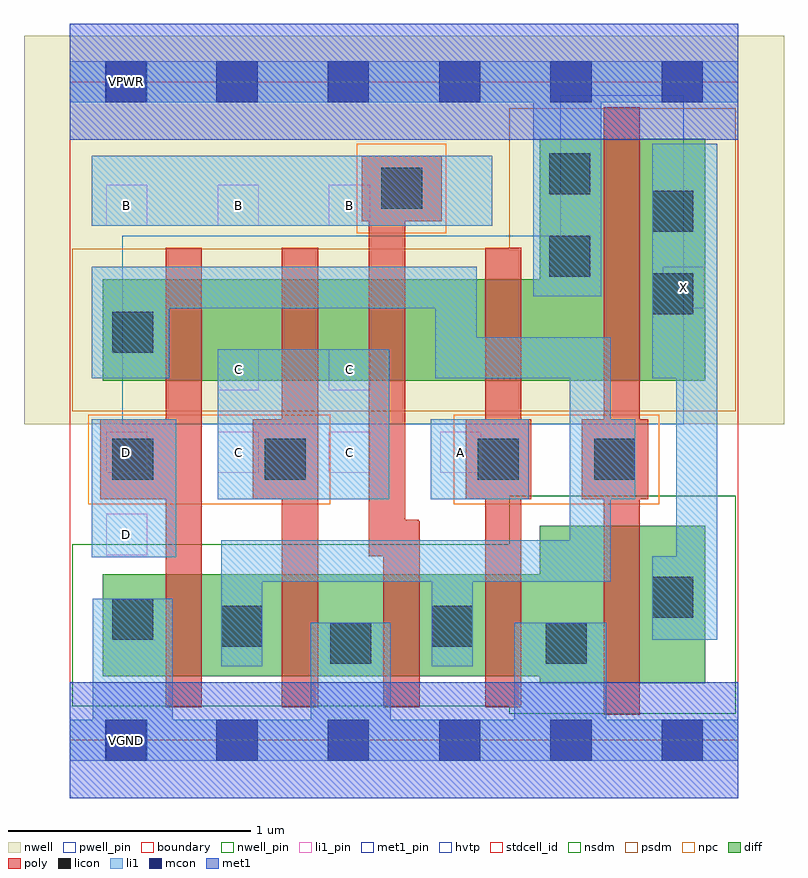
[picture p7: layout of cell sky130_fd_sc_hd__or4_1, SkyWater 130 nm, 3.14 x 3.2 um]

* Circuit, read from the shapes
.subckt sky130_fd_sc_hd__or4_1 A B C D VGND VNB VPB VPWR X
XM1 n1 D VGND VNB sky130_fd_pr__nfet_01v8 w=0.42 l=0.15
XM2 VGND C n1 VNB sky130_fd_pr__nfet_01v8 w=0.42 l=0.15
XM3 n1 B VGND VNB sky130_fd_pr__nfet_01v8 w=0.42 l=0.15
XM4 VGND A n1 VNB sky130_fd_pr__nfet_01v8 w=0.42 l=0.15
XM5 X n1 VGND VNB sky130_fd_pr__nfet_01v8 w=0.65 l=0.15
XM6 n2 D n1 VPB sky130_fd_pr__pfet_01v8_hvt w=0.42 l=0.15
XM7 n3 C n2 VPB sky130_fd_pr__pfet_01v8_hvt w=0.42 l=0.15
XM8 n4 B n3 VPB sky130_fd_pr__pfet_01v8_hvt w=0.42 l=0.15
XM9 VPWR A n4 VPB sky130_fd_pr__pfet_01v8_hvt w=0.42 l=0.15
XM10 X n1 VPWR VPB sky130_fd_pr__pfet_01v8_hvt w=1 l=0.15
.ends

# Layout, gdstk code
import gdstk
lib = gdstk.Library(unit=1e-6, precision=1e-09)
def R(c, l, rs):  # rectangles x0, y0, x1, y1
    for r in rs: c.add(gdstk.rectangle(r[:2], r[2:], *l))
def A(c, l, x, y, w, h, nx, ny, dx, dy):  # array of equal rectangles
    R(c, l, [(x+i*dx, y+j*dy, x+i*dx+w, y+j*dy+h) for i in range(nx) for j in range(ny)])
nwell_pin = (64, 16)
nwell = (64, 20)
diff = (65, 20)
poly = (66, 20)
licon = (66, 44)
li1_pin = (67, 16)
li1 = (67, 20)
mcon = (67, 44)
met1_pin = (68, 16)
met1 = (68, 20)
hvtp = (78, 44)
stdcell_id = (81, 4)
nsdm = (93, 44)
psdm = (94, 20)
npc = (95, 20)
pwell_pin = (122, 16)
boundary = (235, 4)

sky130_fd_sc_hd__or4_1 = lib.new_cell('sky130_fd_sc_hd__or4_1')
R(sky130_fd_sc_hd__or4_1, nwell_pin, [(0.15,2.635,0.32,2.805)])
R(sky130_fd_sc_hd__or4_1, nwell, [(-0.19,1.305,2.95,2.91)])
R(sky130_fd_sc_hd__or4_1, diff, [(1.94,0.235,2.625,0.265), (0.135,0.265,2.625,0.685), (1.94,0.685,2.625,0.885), (0.135,1.485,2.625,1.905), (1.94,1.905,2.625,2.485)])
R(sky130_fd_sc_hd__or4_1, poly, [(2.205,0.105,2.355,0.995), (0.395,0.135,0.545,0.995), (0.875,0.135,1.025,0.995), (1.295,0.135,1.445,0.76), (1.715,0.135,1.865,0.995), (1.235,0.76,1.445,0.905), (1.235,0.905,1.44,0.91), (1.235,0.91,1.385,2.145), (0.125,0.995,0.545,1.325), (0.755,0.995,1.025,1.325), (1.635,0.995,1.905,1.325), (2.115,0.995,2.39,1.325), (0.395,1.325,0.545,2.035), (0.875,1.325,1.025,2.035), (1.715,1.325,1.865,2.035), (2.205,1.325,2.355,2.615), (1.205,2.145,1.535,2.415)])
R(sky130_fd_sc_hd__or4_1, licon, [(1.075,0.315,1.245,0.485), (1.965,0.315,2.135,0.485), (0.625,0.385,0.795,0.555), (1.495,0.385,1.665,0.555), (0.175,0.415,0.345,0.585), (2.405,0.505,2.575,0.675), (0.175,1.075,0.345,1.245), (0.805,1.075,0.975,1.245), (1.685,1.075,1.855,1.245), (2.165,1.075,2.335,1.245), (0.175,1.6,0.345,1.77), (2.405,1.76,2.575,1.93), (1.98,1.915,2.15,2.085), (2.405,2.1,2.575,2.27), (1.285,2.195,1.455,2.365), (1.98,2.255,2.15,2.425)])
A(sky130_fd_sc_hd__or4_1, li1_pin, 0.15, 1.105, 0.17, 0.17, 4, 1, 0.46, 0)
A(sky130_fd_sc_hd__or4_1, li1_pin, 0.15, 2.125, 0.17, 0.17, 3, 1, 0.46, 0)
R(sky130_fd_sc_hd__or4_1, li1_pin, [(0.15,0.765,0.32,0.935), (0.61,1.445,0.78,1.615), (1.07,1.445,1.24,1.615), (2.45,1.785,2.62,1.955)])
R(sky130_fd_sc_hd__or4_1, li1, [(0,-0.085,2.76,0.085), (0.095,0.085,0.425,0.585), (0.995,0.085,1.325,0.485), (1.835,0.085,2.215,0.485), (0.625,0.305,0.795,0.655), (1.495,0.305,1.665,0.655), (2.405,0.415,2.675,0.76), (0.625,0.655,2.235,0.825), (0.09,0.755,0.44,1.325), (2.505,0.76,2.675,1.495), (2.065,0.825,2.235,0.995), (0.61,0.995,1.32,1.615), (1.49,0.995,1.895,1.325), (2.065,0.995,2.335,1.325), (2.065,1.325,2.235,1.495), (0.09,1.495,0.41,1.785), (1.51,1.495,2.235,1.665), (2.405,1.495,2.675,2.465), (1.51,1.665,1.68,1.785), (0.09,1.785,1.68,1.955), (1.915,1.835,2.195,2.635), (0.09,2.125,1.745,2.415), (0,2.635,2.76,2.805)])
A(sky130_fd_sc_hd__or4_1, mcon, 0.145, -0.085, 0.17, 0.17, 6, 2, 0.46, 2.72)
R(sky130_fd_sc_hd__or4_1, met1_pin, [(0.15,-0.085,0.32,0.085), (0.15,2.635,0.32,2.805)])
R(sky130_fd_sc_hd__or4_1, met1, [(0,-0.24,2.76,0.24), (0,2.48,2.76,2.96)])
R(sky130_fd_sc_hd__or4_1, hvtp, [(0.215,1.305,2.535,2.085), (2.025,2.085,2.535,2.665)])
R(sky130_fd_sc_hd__or4_1, stdcell_id, [(0,0,2.76,2.72)])
R(sky130_fd_sc_hd__or4_1, nsdm, [(1.815,0.11,2.75,0.14), (0.01,0.14,2.75,0.81), (1.815,0.81,2.75,1.01)])
R(sky130_fd_sc_hd__or4_1, psdm, [(0.01,1.36,2.75,2.03), (1.815,2.03,2.75,2.61)])
R(sky130_fd_sc_hd__or4_1, npc, [(0.075,0.975,1.075,1.345), (1.585,0.975,2.435,1.345), (1.185,2.095,1.555,2.465)])
R(sky130_fd_sc_hd__or4_1, pwell_pin, [(0.15,-0.085,0.32,0.085)])
R(sky130_fd_sc_hd__or4_1, boundary, [(0,0,2.76,2.72)])
sky130_fd_sc_hd__or4_1.add(gdstk.Label('VPWR', (0.235,2.72), layer=68, texttype=5))
sky130_fd_sc_hd__or4_1.add(gdstk.Label('VGND', (0.235,0), layer=68, texttype=5))
sky130_fd_sc_hd__or4_1.add(gdstk.Label('VPB', (0.235,2.72), layer=64, texttype=5))
sky130_fd_sc_hd__or4_1.add(gdstk.Label('VNB', (0.235,0), layer=64, texttype=59))
sky130_fd_sc_hd__or4_1.add(gdstk.Label('B', (0.235,2.21), layer=67, texttype=5))
sky130_fd_sc_hd__or4_1.add(gdstk.Label('B', (0.695,2.21), layer=67, texttype=5))
sky130_fd_sc_hd__or4_1.add(gdstk.Label('B', (1.155,2.21), layer=67, texttype=5))
sky130_fd_sc_hd__or4_1.add(gdstk.Label('D', (0.235,0.85), layer=67, texttype=5))
sky130_fd_sc_hd__or4_1.add(gdstk.Label('D', (0.235,1.19), layer=67, texttype=5))
sky130_fd_sc_hd__or4_1.add(gdstk.Label('C', (1.155,1.53), layer=67, texttype=5))
sky130_fd_sc_hd__or4_1.add(gdstk.Label('C', (0.695,1.53), layer=67, texttype=5))
sky130_fd_sc_hd__or4_1.add(gdstk.Label('C', (0.695,1.19), layer=67, texttype=5))
sky130_fd_sc_hd__or4_1.add(gdstk.Label('C', (1.155,1.19), layer=67, texttype=5))
sky130_fd_sc_hd__or4_1.add(gdstk.Label('A', (1.615,1.19), layer=67, texttype=5))
sky130_fd_sc_hd__or4_1.add(gdstk.Label('X', (2.535,1.87), layer=67, texttype=5))

lib.write_gds('sky130_fd_sc_hd__or4_1.gds')
